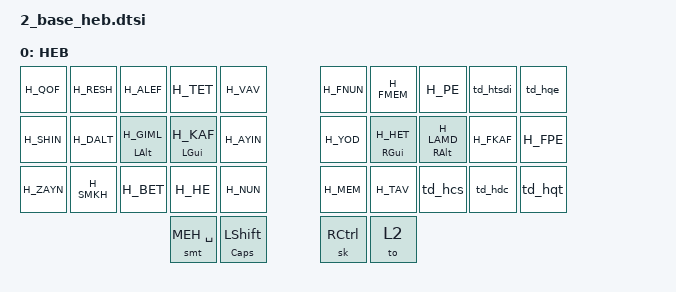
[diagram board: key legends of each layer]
/*
 * Hebrew Base Layer
*/

/ {
  keymap {
    compatible = "zmk,keymap";

    base_heb {
      label = "HEB";
      bindings = <
// ╭───────────────┬───────────────┬───────────────┬───────────────┬───────────────╮   ╭───────────────┬───────────────┬───────────────┬───────────────┬───────────────╮
//  0               1               2               3               4                   5               6               7               8               9
    &kp H_QOF       &kp H_RESH      &kp H_ALEF      &kp H_TET       &kp H_VAV           &kp H_FNUN      &kp H_FMEM      &kp H_PE        &td_htsdi       &td_hqe
// ├───────────────├───────────────┼───────────────┼───────────────┼───────────────┤   ├───────────────├───────────────┼───────────────┼───────────────┼───────────────┤
//  10              11              12              13              14                  15              16              17              18              19
    &kp H_SHIN      &kp H_DALT      &hm LALT H_GIML &hm LGUI H_KAF  &kp H_AYIN          &kp H_YOD       &hm RGUI H_HET  &hm RALT H_LAMD &kp H_FKAF      &kp H_FPE
// ├───────────────├───────────────┼───────────────┼───────────────┼───────────────┤   ├───────────────├───────────────┼───────────────┼───────────────┼───────────────┤
//  20              21              22              23              24                  25              26              27              28              29
    &kp H_ZAYN      &kp H_SMKH      &kp H_BET       &kp H_HE        &kp H_NUN           &kp H_MEM       &kp H_TAV       &td_hcs         &td_hdc         &td_hqt
// ╰───────────────┴───────────────┼───────────────┴───────┬───────┴───────────────┤   ┼───────────────┴───────┬───────┴───────────────┤───────────────┴───────────────╯
//                                  30                      31                          32                      33              
                                    &smt MEH SPACE          &mt CAPS LSHIFT             &sk RCTRL               &to 2
//                                 ╰───────────────────────┴───────────────────────╯   ╰───────────────────────┴───────────────────────╯
      >;
    };
  };
};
